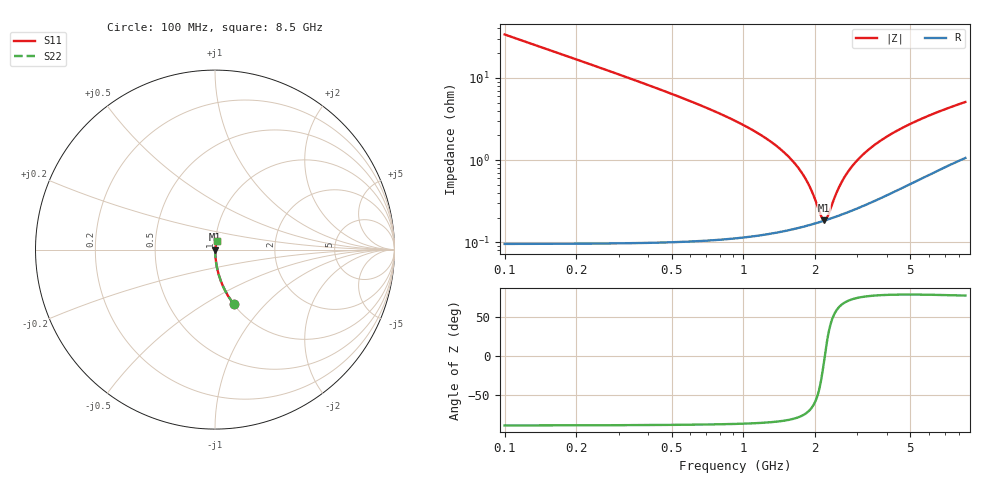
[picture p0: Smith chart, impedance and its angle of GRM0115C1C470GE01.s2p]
!Murata Part Number: GRM0115C1C470GE01
!These Parameters are Measured in Series Mode Connection
!Data Generated on Mar 30, 2021
!  o--ll--o
!Port1  Port2
!  o------o
!Operation Temp=25[degC], DC Bias Voltage=0[V]
!Freq. Start=100[MHz] Stop=9[GHz] 401[Steps]
# Hz S RI R 50
!Freq.(Hz) S11(Real) S11(Imag) S21(Real) S21(Imag) S12(Real) S12(Imag) S22(Real) S22(Imag)
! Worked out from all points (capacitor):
!   401 points, 100 MHz to 8.5 GHz, reference 50 ohm
!   read as one part in series: C = 47 pF near 142 MHz
!   lowest |Z| = 185 mohm at 2.179 GHz (marker M1)
!   series resonance near 2.192 GHz, so ESL is about 110 pH
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1e8  0.1032 -0.3028  0.8968 0.3028  0.8968 0.3028  0.1032 -0.3028
1.84e8  0.0332 -0.1765  0.9668 0.1765  0.9668 0.1765  0.0332 -0.1765
2.68e8  0.0162 -0.1223  0.9838 0.1223  0.9838 0.1223  0.0162 -0.1223
3.52e8  0.00966 -0.0927  0.9903 0.0927  0.9903 0.0927  0.00966 -0.0927
4.78e8  0.00552 -0.067  0.9945 0.067  0.9945 0.067  0.00552 -0.067
7.51e8  0.00264 -0.0396  0.9974 0.0396  0.9974 0.0396  0.00264 -0.0396
1.507e9  0.00152 -0.0118  0.9985 0.0118  0.9985 0.0118  0.00152 -0.0118
1.675e9  0.00155 -0.00834  0.9984 0.00834  0.9984 0.00834  0.00155 -0.00834
1.822e9  0.00161 -0.00569  0.9984 0.00569  0.9984 0.00569  0.00161 -0.00569
1.948e9  0.00168 -0.00361  0.9983 0.00361  0.9983 0.00361  0.00168 -0.00361
2.116e9  0.00179 -0.00108  0.9982 0.00108  0.9982 0.00108  0.00179 -0.00108
2.179e9  0.00184 -0.00018  0.9982 0.00018  0.9982 0.00018  0.00184 -0.00018
2.242e9  0.00189 0.000689  0.9981 -0.000689  0.9981 -0.000689  0.00189 0.000689
2.431e9  0.00206 0.00315  0.9979 -0.00315  0.9979 -0.00315  0.00206 0.00315
2.578e9  0.0022 0.00495  0.9978 -0.00495  0.9978 -0.00495  0.0022 0.00495
2.725e9  0.00236 0.00665  0.9976 -0.00665  0.9976 -0.00665  0.00236 0.00665
2.914e9  0.00258 0.00873  0.9974 -0.00873  0.9974 -0.00873  0.00258 0.00873
3.481e9  0.00332 0.0144  0.9967 -0.0144  0.9967 -0.0144  0.00332 0.0144
4.3e9  0.0046 0.0215  0.9954 -0.0215  0.9954 -0.0215  0.0046 0.0215
5.707e9  0.00719 0.0319  0.9928 -0.0319  0.9928 -0.0319  0.00719 0.0319
7.114e9  0.0101 0.0409  0.9899 -0.0409  0.9899 -0.0409  0.0101 0.0409
8.5e9  0.013 0.0488  0.987 -0.0488  0.987 -0.0488  0.013 0.0488
